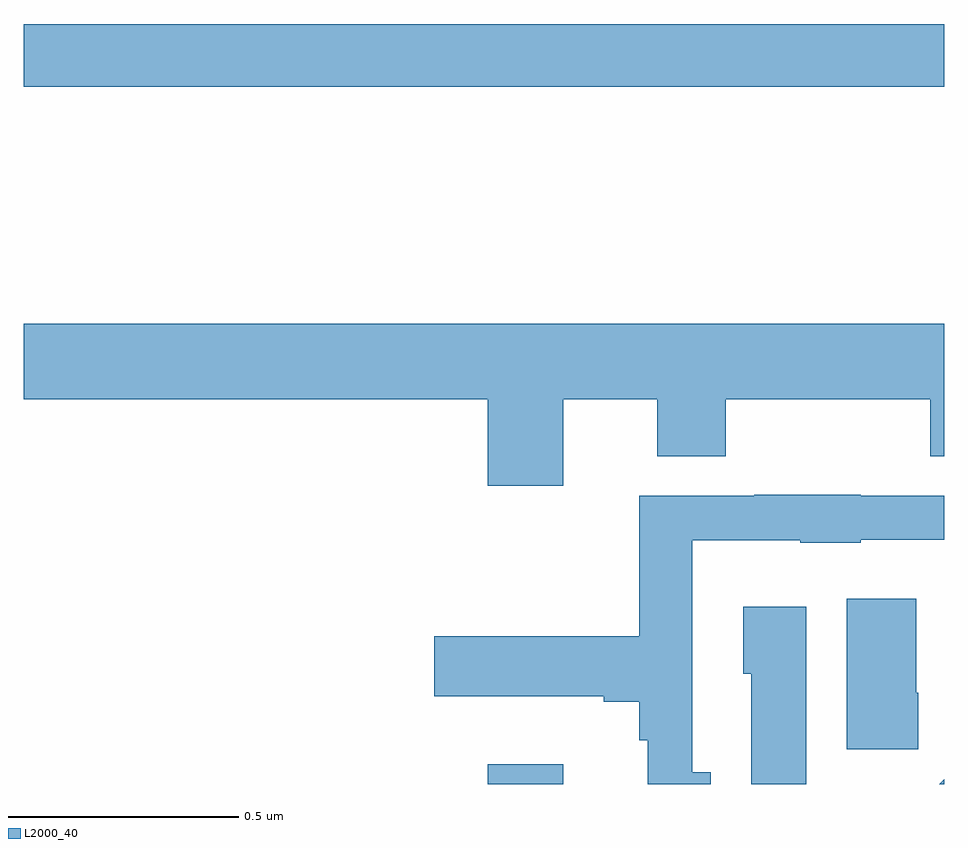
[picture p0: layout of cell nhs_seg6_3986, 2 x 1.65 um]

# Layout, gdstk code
import gdstk
lib = gdstk.Library(unit=1e-6, precision=1e-09)
def R(c, l, rs):  # rectangles x0, y0, x1, y1
    for r in rs: c.add(gdstk.rectangle(r[:2], r[2:], *l))
def P(c, l, *ps):  # polygons
    for p in ps: c.add(gdstk.Polygon(p, *l))
L2000_40 = (2000, 40)

nhs_seg6_3986 = lib.new_cell('nhs_seg6_3986')
R(nhs_seg6_3986, L2000_40, [(165.008,946.5,165.172,946.543), (164,948.016,166,948.152)])
P(nhs_seg6_3986, L2000_40, [(165.172,947.336),(165.377,947.336),(165.377,947.212),(165.525,947.212),(165.525,947.336),(165.97,947.336),(165.97,947.212),(166,947.212),(166,947.5),(164,947.5),(164,947.336),(165.008,947.336),(165.008,947.148),(165.172,947.148)],
  [(165.493,946.526),(165.453,946.526),(165.453,947.03),(165.687,947.03),(165.687,947.024),(165.819,947.024),(165.819,947.031),(166,947.031),(166,947.127),(165.819,947.127),(165.819,947.129),(165.587,947.129),(165.587,947.127),(165.337,947.127),(165.337,946.821),(164.892,946.821),(164.892,946.691),(165.26,946.691),(165.26,946.679),(165.337,946.679),(165.337,946.595),(165.356,946.595),(165.356,946.5),(165.493,946.5)],
  [(165.944,946.698),(165.94,946.698),(165.94,946.903),(165.788,946.903),(165.788,946.575),(165.944,946.575)],
  [(165.7,946.885),(165.563,946.885),(165.563,946.74),(165.581,946.74),(165.581,946.5),(165.7,946.5)],
  [(166,946.51),(165.99,946.5),(166,946.5)])

lib.write_gds('nhs_seg6_3986.gds')
